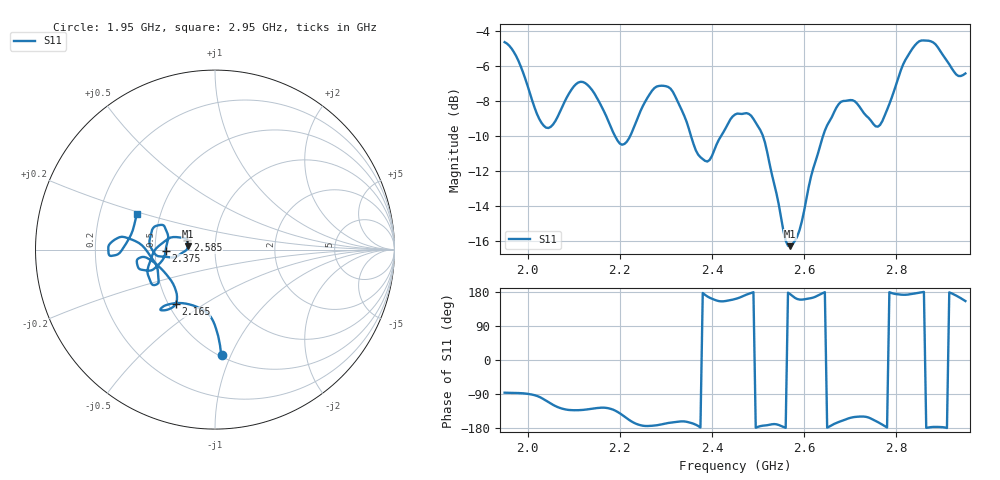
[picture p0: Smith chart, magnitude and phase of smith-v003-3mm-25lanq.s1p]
#  HZ  S  DB  R  50.00
! Rohde & Schwarz ZVB4 2Ports - Version 3.20 - 1145.1010k04 SN: 100175
! Date: 2015-12-02 18:26:35
! Measurement: S11
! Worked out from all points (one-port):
!   201 points, 1.95 GHz to 2.95 GHz, reference 50 ohm
!   lowest |S11| = -16.3 dB at 2.57 GHz (marker M1), VSWR 1.36, Z = 36.7 + j1.31 ohm
!   |S11| at or under -10 dB: 2.19 GHz to 2.222 GHz (32.1 MHz wide, 1.45 % of centre); 2.355 GHz to 2.419 GHz (64.68 MHz wide, 2.71 % of centre); 2.511 GHz to 2.641 GHz (130 MHz wide, 5.05 % of centre)
!   S11 on the Smith chart (normalised r, x): 1.95 GHz: 0.52, -0.92; 2.165 GHz: 0.54, -0.38; 2.375 GHz: 0.57, -0.01; 2.585 GHz: 0.73, +0.08; 2.95 GHz: 0.37, +0.19
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1.95e9  -4.61 -86.3
2e9  -7.12 -89.3
2.035e9  -9.39 -103.6
2.075e9  -8.32 -128.4
2.115e9  -6.88 -132.2
2.165e9  -8.53 -125.8
2.2e9  -10.41 -140.6
2.255e9  -8.02 -174.1
2.285e9  -7.12 -171.3
2.325e9  -7.97 -163.0
2.375e9  -11.19 -178.2
2.415e9  -10.19 155.4
2.45e9  -8.75 160.8
2.51e9  -9.93 -173.4
2.56e9  -15.97 -179.1
2.57e9  -16.28 173.5
2.575e9  -16.16 168.7
2.585e9  -15.72 161.0
2.62e9  -11.81 164.9
2.645e9  -9.67 179.0
2.7e9  -7.92 -152.7
2.735e9  -8.83 -150.1
2.76e9  -9.45 -163.8
2.795e9  -7.41 175.0
2.825e9  -5.40 172.6
2.855e9  -4.52 178.5
2.9e9  -5.30 -177.2
2.95e9  -6.40 155.6
